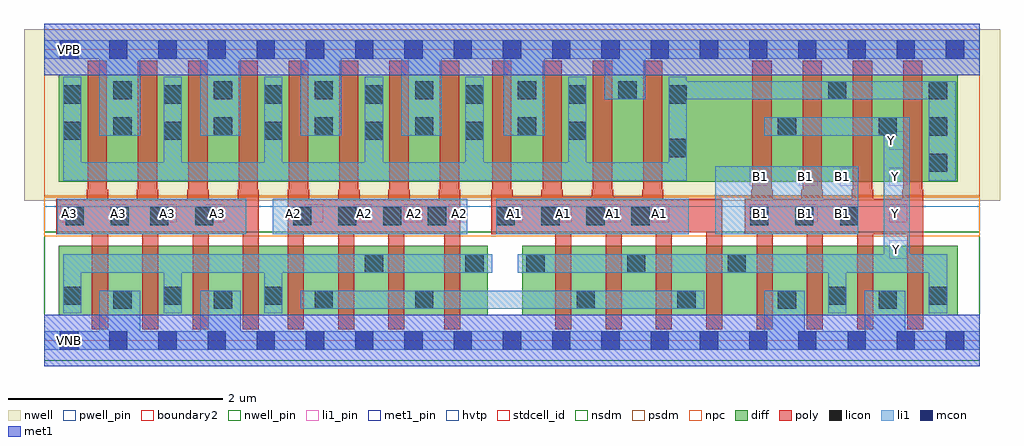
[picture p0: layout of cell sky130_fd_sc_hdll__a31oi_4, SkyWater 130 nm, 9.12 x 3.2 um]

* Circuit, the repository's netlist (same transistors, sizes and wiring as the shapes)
* Copyright 2020 The SkyWater PDK Authors
*
* Licensed under the Apache License, Version 2.0 (the "License");
* you may not use this file except in compliance with the License.
* You may obtain a copy of the License at
*
*     https://www.apache.org/licenses/LICENSE-2.0
*
* Unless required by applicable law or agreed to in writing, software
* distributed under the License is distributed on an "AS IS" BASIS,
* WITHOUT WARRANTIES OR CONDITIONS OF ANY KIND, either express or implied.
* See the License for the specific language governing permissions and
* limitations under the License.
*
* SPDX-License-Identifier: Apache-2.0

.SUBCKT sky130_fd_sc_hdll__a31oi_4 A1 A2 A3 B1 VGND VNB VPB VPWR Y
*.PININFO A1:I A2:I A3:I B1:I VGND:I VNB:I VPB:I VPWR:I Y:O
MMPA0 pndA A1 VPWR VPB sky130_fd_pr__pfet_01v8_hvt m=4 w=1.0U l=0.18U mult=1 sa=0.265
+ sb=0.265 sd=0.28 area=0.063 perim=1.14
MMPA1 pndA A2 VPWR VPB sky130_fd_pr__pfet_01v8_hvt m=4 w=1.0U l=0.18U mult=1 sa=0.265
+ sb=0.265 sd=0.28 area=0.063 perim=1.14
MMPA2 pndA A3 VPWR VPB sky130_fd_pr__pfet_01v8_hvt m=4 w=1.0U l=0.18U mult=1 sa=0.265
+ sb=0.265 sd=0.28 area=0.063 perim=1.14
MMPB0 Y B1 pndA VPB sky130_fd_pr__pfet_01v8_hvt m=4 w=1.0U l=0.18U mult=1 sa=0.265
+ sb=0.265 sd=0.28 area=0.063 perim=1.14
MMNA0 Y A1 sndA1 VNB sky130_fd_pr__nfet_01v8 m=4 w=0.65U l=0.15U mult=1 sa=0.265
+ sb=0.265 sd=0.28 area=0.063 perim=1.14
MMNA1 sndA1 A2 sndA2 VNB sky130_fd_pr__nfet_01v8 m=4 w=0.65U l=0.15U mult=1 sa=0.265
+ sb=0.265 sd=0.28 area=0.063 perim=1.14
MMNA2 sndA2 A3 VGND VNB sky130_fd_pr__nfet_01v8 m=4 w=0.65U l=0.15U mult=1 sa=0.265
+ sb=0.265 sd=0.28 area=0.063 perim=1.14
MMNB0 Y B1 VGND VNB sky130_fd_pr__nfet_01v8 m=4 w=0.65U l=0.15U mult=1 sa=0.265
+ sb=0.265 sd=0.28 area=0.063 perim=1.14
.ENDS sky130_fd_sc_hdll__a31oi_4

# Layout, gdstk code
import gdstk
lib = gdstk.Library(unit=1e-6, precision=1e-09)
def R(c, l, rs):  # rectangles x0, y0, x1, y1
    for r in rs: c.add(gdstk.rectangle(r[:2], r[2:], *l))
def A(c, l, x, y, w, h, nx, ny, dx, dy):  # array of equal rectangles
    R(c, l, [(x+i*dx, y+j*dy, x+i*dx+w, y+j*dy+h) for i in range(nx) for j in range(ny)])
def P(c, l, *ps):  # polygons
    for p in ps: c.add(gdstk.Polygon(p, *l))
nwell_pin = (64, 16)
nwell = (64, 20)
diff = (65, 20)
poly = (66, 20)
licon = (66, 44)
li1_pin = (67, 16)
li1 = (67, 20)
mcon = (67, 44)
met1_pin = (68, 16)
met1 = (68, 20)
hvtp = (78, 44)
stdcell_id = (81, 4)
nsdm = (93, 44)
psdm = (94, 20)
npc = (95, 20)
pwell_pin = (122, 16)
boundary2 = (236, 0)

sky130_fd_sc_hdll__a31oi = lib.new_cell('sky130_fd_sc_hdll__a31oi_4')
R(sky130_fd_sc_hdll__a31oi, nwell_pin, [(0.15,2.635,0.32,2.805)])
R(sky130_fd_sc_hdll__a31oi, nwell, [(-0.19,1.305,8.93,2.91)])
R(sky130_fd_sc_hdll__a31oi, diff, [(0.135,0.235,4.145,0.885), (4.465,0.235,8.535,0.885), (0.135,1.485,8.535,2.485)])
P(sky130_fd_sc_hdll__a31oi, poly, [(2.005,1.41),(1.995,1.41),(1.995,2.615),(1.815,2.615),(1.815,1.41),(1.805,1.41),(1.805,1.325),(1.535,1.325),(1.535,1.41),(1.525,1.41),(1.525,2.615),(1.345,2.615),(1.345,1.41),(1.335,1.41),(1.335,1.325),(1.065,1.325),(1.065,1.41),(1.055,1.41),(1.055,2.615),(0.875,2.615),(0.875,1.41),(0.865,1.41),(0.865,1.325),(0.595,1.325),(0.595,1.41),(0.585,1.41),(0.585,2.615),(0.405,2.615),(0.405,1.41),(0.395,1.41),(0.395,1.325),(0.11,1.325),(0.11,0.995),(0.445,0.995),(0.445,0.105),(0.595,0.105),(0.595,0.995),(0.915,0.995),(0.915,0.105),(1.065,0.105),(1.065,0.995),(1.385,0.995),(1.385,0.105),(1.535,0.105),(1.535,0.995),(1.855,0.995),(1.855,0.105),(2.005,0.105)],
  [(3.885,1.41),(3.875,1.41),(3.875,2.615),(3.695,2.615),(3.695,1.41),(3.685,1.41),(3.685,1.325),(3.415,1.325),(3.415,1.41),(3.405,1.41),(3.405,2.615),(3.225,2.615),(3.225,1.41),(3.215,1.41),(3.215,1.325),(2.945,1.325),(2.945,1.41),(2.935,1.41),(2.935,2.615),(2.755,2.615),(2.755,1.41),(2.745,1.41),(2.745,1.325),(2.475,1.325),(2.475,1.41),(2.465,1.41),(2.465,2.615),(2.285,2.615),(2.285,1.41),(2.275,1.41),(2.275,0.105),(2.425,0.105),(2.425,0.995),(2.745,0.995),(2.745,0.105),(2.895,0.105),(2.895,0.995),(3.215,0.995),(3.215,0.105),(3.365,0.105),(3.365,0.995),(3.735,0.995),(3.735,0.105),(3.885,0.105)],
  [(6.335,1.325),(5.785,1.325),(5.785,1.41),(5.775,1.41),(5.775,2.615),(5.595,2.615),(5.595,1.41),(5.585,1.41),(5.585,1.345),(5.315,1.345),(5.315,1.41),(5.305,1.41),(5.305,2.615),(5.125,2.615),(5.125,1.41),(5.115,1.41),(5.115,1.345),(4.845,1.345),(4.845,1.41),(4.835,1.41),(4.835,2.615),(4.655,2.615),(4.655,1.41),(4.645,1.41),(4.645,1.345),(4.375,1.345),(4.375,1.41),(4.365,1.41),(4.365,2.615),(4.185,2.615),(4.185,1.41),(4.175,1.41),(4.175,0.995),(4.775,0.995),(4.775,0.105),(4.925,0.105),(4.925,0.995),(5.245,0.995),(5.245,0.105),(5.395,0.105),(5.395,0.995),(5.715,0.995),(5.715,0.105),(5.865,0.105),(5.865,1.01),(6.185,1.01),(6.185,0.105),(6.335,0.105)],
  [(8.215,1.41),(8.205,1.41),(8.205,2.615),(8.025,2.615),(8.025,1.41),(8.015,1.41),(8.015,1.325),(7.745,1.325),(7.745,1.41),(7.735,1.41),(7.735,2.615),(7.555,2.615),(7.555,1.41),(7.545,1.41),(7.545,1.325),(7.275,1.325),(7.275,1.41),(7.265,1.41),(7.265,2.615),(7.085,2.615),(7.085,1.41),(7.075,1.41),(7.075,1.325),(6.805,1.325),(6.805,1.41),(6.795,1.41),(6.795,2.615),(6.615,2.615),(6.615,1.41),(6.605,1.41),(6.605,1.325),(6.545,1.325),(6.545,0.995),(6.655,0.995),(6.655,0.105),(6.805,0.105),(6.805,0.995),(7.125,0.995),(7.125,0.105),(7.275,0.105),(7.275,0.995),(7.595,0.995),(7.595,0.105),(7.745,0.105),(7.745,0.995),(8.065,0.995),(8.065,0.105),(8.215,0.105)])
A(sky130_fd_sc_hdll__a31oi, licon, 0.645, 0.295, 0.17, 0.17, 4, 2, 0.94, 1.62)
A(sky130_fd_sc_hdll__a31oi, licon, 4.975, 0.295, 0.17, 0.17, 4, 1, 0.94, 0)
A(sky130_fd_sc_hdll__a31oi, licon, 0.175, 0.335, 0.17, 0.17, 3, 1, 0.94, 0)
A(sky130_fd_sc_hdll__a31oi, licon, 4.505, 0.635, 0.17, 0.17, 3, 1, 0.94, 0)
A(sky130_fd_sc_hdll__a31oi, licon, 2.325, 1.075, 0.17, 0.17, 4, 1, 0.42, 0)
A(sky130_fd_sc_hdll__a31oi, licon, 4.225, 1.075, 0.17, 0.17, 4, 1, 0.42, 0)
A(sky130_fd_sc_hdll__a31oi, licon, 6.595, 1.075, 0.17, 0.17, 3, 1, 0.42, 0)
A(sky130_fd_sc_hdll__a31oi, licon, 8.265, 1.575, 0.17, 0.17, 1, 3, 0, 0.34)
A(sky130_fd_sc_hdll__a31oi, licon, 0.175, 1.875, 0.17, 0.17, 5, 2, 0.94, 0.34)
A(sky130_fd_sc_hdll__a31oi, licon, 0.645, 2.255, 0.17, 0.17, 4, 1, 0.94, 0)
R(sky130_fd_sc_hdll__a31oi, licon, [(7.325,0.335,7.495,0.505), (8.265,0.335,8.435,0.505), (2.995,0.635,3.165,0.805), (3.935,0.635,4.105,0.805), (0.2,1.075,0.37,1.245), (0.62,1.075,0.79,1.245), (0.99,1.075,1.16,1.245), (1.41,1.075,1.58,1.245), (5.835,1.715,6.005,1.885), (4.895,1.875,5.065,2.045), (4.425,1.915,4.595,2.085), (6.855,1.915,7.025,2.085), (7.795,1.915,7.965,2.085), (4.895,2.215,5.065,2.385), (5.835,2.215,6.005,2.385), (4.425,2.255,4.595,2.425), (5.365,2.255,5.535,2.425), (7.325,2.255,7.495,2.425)])
A(sky130_fd_sc_hdll__a31oi, li1_pin, 7.895, 0.765, 0.17, 0.17, 1, 4, 0, 0.34)
A(sky130_fd_sc_hdll__a31oi, li1_pin, 4.76, 1.105, 0.17, 0.17, 3, 1, 0.455, 0)
R(sky130_fd_sc_hdll__a31oi, li1_pin, [(0.15,1.105,0.32,1.275), (0.61,1.105,0.78,1.275), (1.065,1.105,1.235,1.275), (1.51,1.105,1.68,1.275), (2.435,1.105,2.605,1.275), (2.89,1.105,3.06,1.275), (3.36,1.105,3.53,1.275), (3.78,1.105,3.95,1.275), (4.3,1.105,4.47,1.275), (6.59,1.105,6.76,1.275), (7.055,1.105,7.225,1.275), (7.435,1.105,7.605,1.275), (6.59,1.445,6.76,1.615), (7.055,1.445,7.225,1.615), (7.435,1.445,7.605,1.615)])
R(sky130_fd_sc_hdll__a31oi, li1, [(2.395,0.295,6.165,0.465), (0.12,0.995,1.885,1.325), (2.135,0.995,3.95,1.325), (4.225,0.995,6.02,1.325), (6.27,0.995,7.605,1.63)])
P(sky130_fd_sc_hdll__a31oi, li1, [(8.435,0.805),(8.085,0.805),(8.085,2.085),(6.725,2.085),(6.725,1.915),(7.845,1.915),(7.845,0.805),(4.425,0.805),(4.425,0.635),(7.325,0.635),(7.325,0.255),(7.495,0.255),(7.495,0.635),(8.265,0.635),(8.265,0.255),(8.435,0.255)],
  [(4.185,0.805),(0.175,0.805),(0.175,0.255),(0.345,0.255),(0.345,0.635),(1.115,0.635),(1.115,0.255),(1.285,0.255),(1.285,0.635),(2.055,0.635),(2.055,0.255),(2.225,0.255),(2.225,0.635),(4.185,0.635)],
  [(8.74,0.085),(8.045,0.085),(8.045,0.465),(7.665,0.465),(7.665,0.085),(7.105,0.085),(7.105,0.465),(6.725,0.465),(6.725,0.085),(1.835,0.085),(1.835,0.465),(1.455,0.465),(1.455,0.085),(0.895,0.085),(0.895,0.465),(0.515,0.465),(0.515,0.085),(0,0.085),(0,-0.085),(8.74,-0.085)],
  [(8.74,2.805),(0,2.805),(0,2.635),(0.515,2.635),(0.515,1.915),(0.895,1.915),(0.895,2.635),(1.455,2.635),(1.455,1.915),(1.835,1.915),(1.835,2.635),(2.395,2.635),(2.395,1.915),(2.775,1.915),(2.775,2.635),(3.335,2.635),(3.335,1.915),(3.715,1.915),(3.715,2.635),(4.295,2.635),(4.295,1.915),(4.675,1.915),(4.675,2.635),(5.235,2.635),(5.235,2.255),(5.615,2.255),(5.615,2.635),(8.74,2.635)],
  [(8.515,2.425),(6.005,2.425),(6.005,2.465),(5.835,2.465),(5.835,1.665),(5.065,1.665),(5.065,2.465),(4.895,2.465),(4.895,1.665),(4.105,1.665),(4.105,2.465),(3.935,2.465),(3.935,1.665),(3.165,1.665),(3.165,2.465),(2.995,2.465),(2.995,1.665),(2.225,1.665),(2.225,2.465),(2.055,2.465),(2.055,1.665),(1.285,1.665),(1.285,2.465),(1.115,2.465),(1.115,1.665),(0.345,1.665),(0.345,2.465),(0.175,2.465),(0.175,1.495),(6.005,1.495),(6.005,2.255),(8.265,2.255),(8.265,1.495),(8.515,1.495)])
A(sky130_fd_sc_hdll__a31oi, mcon, 0.145, -0.085, 0.17, 0.17, 19, 2, 0.46, 2.72)
R(sky130_fd_sc_hdll__a31oi, met1_pin, [(0.15,-0.085,0.32,0.085), (0.15,2.635,0.32,2.805)])
R(sky130_fd_sc_hdll__a31oi, met1, [(0,-0.24,8.74,0.24), (0,2.48,8.74,2.96)])
R(sky130_fd_sc_hdll__a31oi, hvtp, [(0,1.25,8.74,2.72)])
R(sky130_fd_sc_hdll__a31oi, stdcell_id, [(0,0,8.74,2.72)])
R(sky130_fd_sc_hdll__a31oi, nsdm, [(0,-0.19,8.74,1.015)])
R(sky130_fd_sc_hdll__a31oi, psdm, [(0,1.355,8.74,2.91)])
R(sky130_fd_sc_hdll__a31oi, npc, [(0,0.975,8.74,1.345)])
R(sky130_fd_sc_hdll__a31oi, pwell_pin, [(0.15,-0.085,0.32,0.085)])
R(sky130_fd_sc_hdll__a31oi, boundary2, [(0,0,8.74,2.72)])
sky130_fd_sc_hdll__a31oi.add(gdstk.Label('Y', (7.96,0.85), layer=67, texttype=5))
sky130_fd_sc_hdll__a31oi.add(gdstk.Label('Y', (7.95,1.19), layer=67, texttype=5))
sky130_fd_sc_hdll__a31oi.add(gdstk.Label('Y', (7.95,1.53), layer=67, texttype=5))
sky130_fd_sc_hdll__a31oi.add(gdstk.Label('Y', (7.92,1.87), layer=67, texttype=5))
sky130_fd_sc_hdll__a31oi.add(gdstk.Label('B1', (7.46,1.53), layer=67, texttype=5))
sky130_fd_sc_hdll__a31oi.add(gdstk.Label('A2', (3.875,1.19), layer=67, texttype=5))
sky130_fd_sc_hdll__a31oi.add(gdstk.Label('A3', (1.615,1.19), layer=67, texttype=5))
sky130_fd_sc_hdll__a31oi.add(gdstk.Label('A1', (5.75,1.19), layer=67, texttype=5))
sky130_fd_sc_hdll__a31oi.add(gdstk.Label('B1', (6.695,1.53), layer=67, texttype=5))
sky130_fd_sc_hdll__a31oi.add(gdstk.Label('B1', (7.11,1.53), layer=67, texttype=5))
sky130_fd_sc_hdll__a31oi.add(gdstk.Label('B1', (6.695,1.19), layer=67, texttype=5))
sky130_fd_sc_hdll__a31oi.add(gdstk.Label('B1', (7.11,1.19), layer=67, texttype=5))
sky130_fd_sc_hdll__a31oi.add(gdstk.Label('A2', (2.995,1.19), layer=67, texttype=5))
sky130_fd_sc_hdll__a31oi.add(gdstk.Label('B1', (7.46,1.19), layer=67, texttype=5))
sky130_fd_sc_hdll__a31oi.add(gdstk.Label('A2', (2.33,1.19), layer=67, texttype=5))
sky130_fd_sc_hdll__a31oi.add(gdstk.Label('A1', (5.315,1.19), layer=67, texttype=5))
sky130_fd_sc_hdll__a31oi.add(gdstk.Label('A3', (1.155,1.19), layer=67, texttype=5))
sky130_fd_sc_hdll__a31oi.add(gdstk.Label('A3', (0.695,1.19), layer=67, texttype=5))
sky130_fd_sc_hdll__a31oi.add(gdstk.Label('A3', (0.235,1.19), layer=67, texttype=5))
sky130_fd_sc_hdll__a31oi.add(gdstk.Label('A2', (3.455,1.19), layer=67, texttype=5))
sky130_fd_sc_hdll__a31oi.add(gdstk.Label('A1', (4.855,1.19), layer=67, texttype=5))
sky130_fd_sc_hdll__a31oi.add(gdstk.Label('A1', (4.395,1.19), layer=67, texttype=5))
sky130_fd_sc_hdll__a31oi.add(gdstk.Label('VNB', (0.235,0), layer=64, texttype=59))
sky130_fd_sc_hdll__a31oi.add(gdstk.Label('VPB', (0.235,2.72), layer=64, texttype=5))
sky130_fd_sc_hdll__a31oi.add(gdstk.Label('VPWR', (0.23,2.72), layer=68, texttype=5))
sky130_fd_sc_hdll__a31oi.add(gdstk.Label('VGND', (0.23,0), layer=68, texttype=5))

lib.write_gds('sky130_fd_sc_hdll__a31oi_4.gds')
